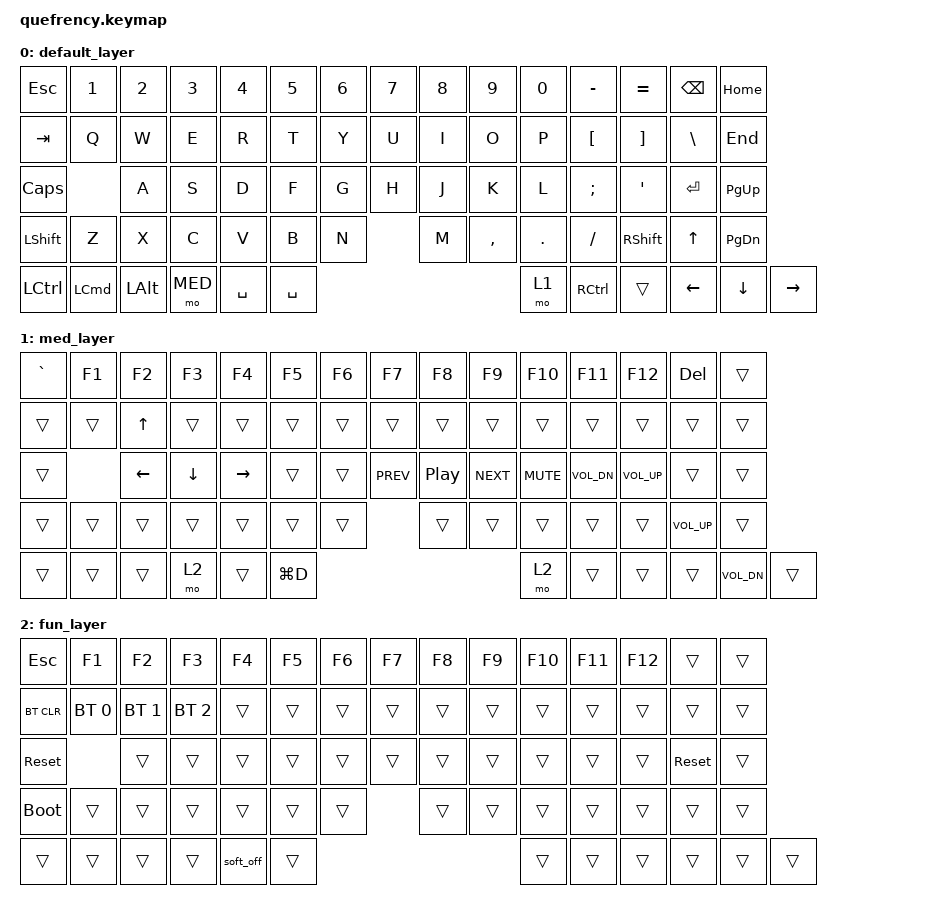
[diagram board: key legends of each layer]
/*
 * Copyright (c) 2020 The ZMK Contributors
 *
 * SPDX-License-Identifier: MIT
 */

#include <behaviors.dtsi>
#include <dt-bindings/zmk/bt.h>
#include <dt-bindings/zmk/keys.h>

#define DEFAULT 0
#define MED   1
#define FUN   2

/ {
    keymap {
        compatible = "zmk,keymap";

        // ----------------------------------------------      -----------------------------------------------------
        // | ESC  |  1   |  2  |  3   |  4  |  5  |  6  |      |  7  |  8  |  9  |  0  |  -  |  =  |  BKSPC |  `   |
        // | TAB   |  Q   |  W  |  E   |  R  |  T  |        |  Y  |  U  |  I  |  O  |  P  |  [  |  ]  |  \  | DEL  |
        // | CAPS  |  A   |  S  |  D   |  F  |  G  |        |  H  |  J  |  K  |  L  |  ;  |  '  |   ENTER  | PGUP |
        // | SHIFT   |  Z   |  X  |  C  |  V   |  B  |        |  N  |  M  |  ,  |  .  |  /  |  RSHFT  |  UP | PGDN |
        // |  LCTRL   | LGUI | LALT  | FN|   SPACE  |        |    SPACE    | RALT | FN | RCTRL | LFT | DWN | RGHT |
        // -------------------------------------------        ------------------------------------------------------

        default_layer {
            bindings = <
&kp ESC    &kp N1           &kp N2               &kp N3         &kp N4          &kp N5         &kp N6       &kp N7     &kp N8  &kp N9     &kp N0   &kp MINUS  &kp EQUAL             &kp BSPC            &kp HOME
&kp TAB              &kp Q                &kp W          &kp E           &kp R          &kp T               &kp Y      &kp U   &kp I      &kp O    &kp P      &kp LBKT              &kp RBKT  &kp BSLH                 &kp END
&kp CAPS                    &kp A                &kp S          &kp D           &kp F          &kp G        &kp H      &kp J   &kp K      &kp L    &kp SEMI   &kp SQT               &kp RET             &kp PG_UP
&kp LSHFT                   &kp Z                &kp X          &kp C           &kp V          &kp B        &kp N      &kp M   &kp COMMA  &kp DOT  &kp FSLH              &kp RSHFT            &kp UP    &kp PAGE_DOWN
&kp LCTRL  &kp LCMD         &kp LEFT_ALT                        &mo MED                        &kp SPACE    &kp SPACE                     &mo 1    &kp RCTRL  &trans                &kp LEFT            &kp DOWN       &kp RIGHT
            >;

            label = "default_layer";
        };

        med_layer {
            bindings = <
&kp GRAVE  &kp F1          &kp F2            &kp F3            &kp F4             &kp F5          &kp F6    &kp F7      &kp F8    &kp F9      &kp F10     &kp F11       &kp F12               &kp DEL                &trans
&trans             &trans            &kp UP            &trans             &trans          &trans            &trans      &trans    &trans      &trans      &trans        &trans                &trans   &trans                      &trans
&trans                     &kp LEFT          &kp DOWN          &kp RIGHT          &trans          &trans    &kp C_PREV  &kp C_PP  &kp C_NEXT  &kp C_MUTE  &kp C_VOL_DN  &kp C_VOL_UP          &trans                 &trans
&trans                     &trans            &trans            &trans             &trans          &trans    &trans      &trans    &trans      &trans      &trans                      &trans           &kp C_VOL_UP  &trans
&trans     &trans          &trans                              &mo 2                              &trans    &kp LG(D)                         &mo 2       &trans        &trans                &trans                 &kp C_VOL_DN  &trans
            >;

            label = "med_layer";
        };

        fun_layer {
            bindings = <
&kp ESCAPE   &kp F1                &kp F2                &kp F3                &kp F4          &kp F5          &kp F6       &kp F7  &kp F8  &kp F9  &kp F10  &kp F11  &kp F12          &trans              &trans
&bt BT_CLR           &bt BT_SEL 0          &bt BT_SEL 1          &bt BT_SEL 2          &trans          &trans               &trans  &trans  &trans  &trans   &trans   &trans           &trans      &trans          &trans
&sys_reset                         &trans                &trans                &trans          &trans          &trans       &trans  &trans  &trans  &trans   &trans   &trans           &sys_reset          &trans
&bootloader                        &trans                &trans                &trans          &trans          &trans       &trans  &trans  &trans  &trans   &trans            &trans              &trans  &trans
&trans       &trans                &trans                                      &trans                          &soft_off    &trans                  &trans   &trans   &trans           &trans              &trans  &trans
            >;

            label = "fun_layer";
        };
    };
};
